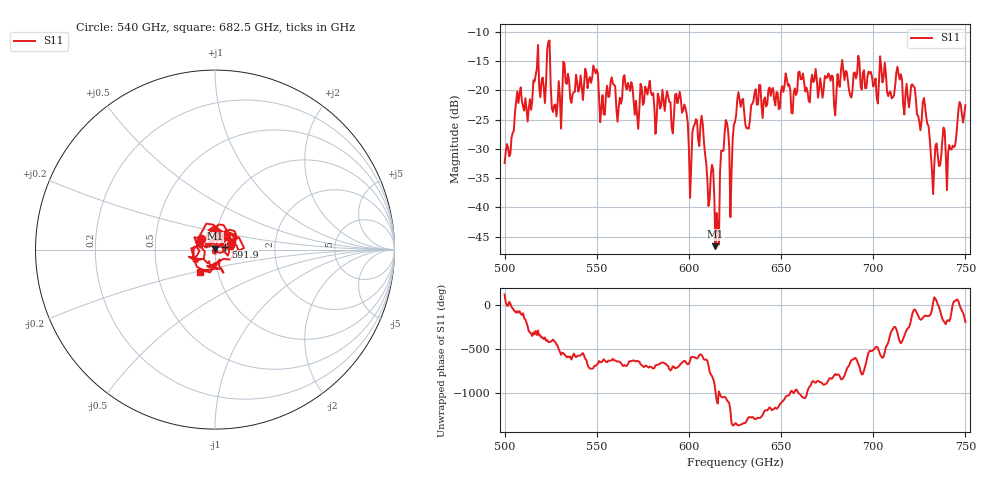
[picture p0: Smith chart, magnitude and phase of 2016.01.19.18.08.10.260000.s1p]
!Created with skrf (http://scikit-rf.org).
# GHz S RI R 50.0
!freq ReS11 ImS11
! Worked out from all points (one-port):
!   401 points, 500 GHz to 750 GHz, reference 50 ohm
!   lowest |S11| = -46.6 dB at 614.4 GHz (marker M1), VSWR 1.01, Z = 49.9 + j0.454 ohm
!   |S11| at or under -10 dB: start of sweep to end of sweep
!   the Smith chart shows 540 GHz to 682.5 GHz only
!   S11 on the Smith chart (normalised r, x): 540 GHz: 0.85, +0.10; 591.9 GHz: 1.12, +0.04; 682.5 GHz: 0.83, -0.21
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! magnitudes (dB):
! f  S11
! 500 GHz  -32.4
! 516.9 GHz  -17.4
! 520.6 GHz  -17.8
! 523.8 GHz  -11.7
! 526.9 GHz  -22.6
! 531.2 GHz  -21.0
! 540 GHz  -20.2
! 562.5 GHz  -21.3
! 565.6 GHz  -19.2
! 571.9 GHz  -24.2
! 577.5 GHz  -20.7
! 591.9 GHz  -24.4
! 593.8 GHz  -22.2
! 600.6 GHz  -38.4
! 607.5 GHz  -25.8
! 614.4 GHz  -46.6
! 615.6 GHz  -43.2
! 619.4 GHz  -27.4
! 623.1 GHz  -34.0
! 625 GHz  -25.4
! 656.2 GHz  -24.0
! 682.5 GHz  -16.6
! 687.5 GHz  -20.9
! 705 GHz  -18.7
! 718.8 GHz  -21.2
! 728.1 GHz  -22.8
! 732.5 GHz  -37.7
! 750 GHz  -22.6
